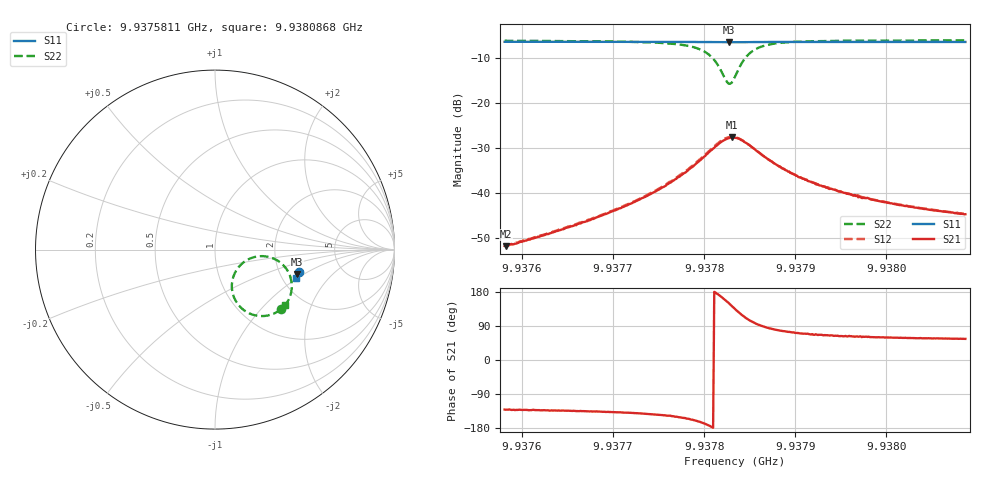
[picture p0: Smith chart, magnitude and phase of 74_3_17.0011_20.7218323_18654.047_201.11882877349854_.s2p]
#  HZ  S  RI  R  50.00
! Rohde & Schwarz Vector Network Analyzer
! Rohde-Schwarz,ZNB20-2Port,1311601062101988,3.16
! Created: UTC 3/20/2024, 10:55:21 PM
! freq[Hz]  re:S11  im:S11  re:S21  im:S21  re:S12  im:S12  re:S22  im:S22
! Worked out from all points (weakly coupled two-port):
!   401 points, 9.9375811 GHz to 9.9380868 GHz, reference 50 ohm
!   highest |S21| = -27.67 dB at 9.9378302 GHz (marker M1); lowest = -51.9 dB at 9.9375824 GHz (marker M2)
!   lowest |S11| = -6.4 dB at 9.9378276 GHz (marker M3), VSWR 2.82, Z = 122 - j43.9 ohm
!   |S11| at or under -10 dB: nowhere
!   |S22| runs from -15.7 to -6.0 dB; largest |S21 - S12| = 0.0026
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9.93758115e9  0.4656 -0.1245  -0.00167 -0.00193  -0.00171 -0.00189  0.3662 -0.3332
9.93758241e9  0.4659 -0.1247  -0.00167 -0.00191  -0.00173 -0.00192  0.3661 -0.3331
9.93766584e9  0.4638 -0.1303  -0.00327 -0.00328  -0.00338 -0.00327  0.3475 -0.3461
9.93770881e9  0.4625 -0.1333  -0.00503 -0.0045  -0.00525 -0.00453  0.3292 -0.3559
9.93775053e9  0.4611 -0.1365  -0.00886 -0.00627  -0.00918 -0.0063  0.2936 -0.3671
9.93778086e9  0.4596 -0.1387  -0.0156 -0.00738  -0.0162 -0.0074  0.2356 -0.3686
9.93779982e9  0.4581 -0.1399  -0.0245 -0.00573  -0.0253 -0.00502  0.1649 -0.3403
9.9378112e9  0.4569 -0.1401  -0.0317 8.32e-05  -0.0329 0.00131  0.1127 -0.2803
9.93782005e9  0.4558 -0.1397  -0.0362 0.01  -0.0369 0.0119  0.0941 -0.1934
9.9378251e9  0.4557 -0.139  -0.036 0.0174  -0.036 0.0196  0.1092 -0.1334
9.93782763e9  0.4556 -0.1387  -0.0349 0.0211  -0.0346 0.0235  0.1259 -0.1048
9.93783016e9  0.4558 -0.1385  -0.0331 0.0248  -0.0324 0.027  0.1483 -0.0801
9.93783395e9  0.456 -0.1382  -0.0286 0.0292  -0.0276 0.0311  0.1898 -0.0523
9.93784027e9  0.4568 -0.1378  -0.0202 0.0332  -0.0188 0.0347  0.2639 -0.0363
9.93784533e9  0.4574 -0.1381  -0.0135 0.0338  -0.0122 0.0346  0.3159 -0.0459
9.93785165e9  0.4581 -0.1384  -0.00712 0.032  -0.00574 0.0324  0.3632 -0.0714
9.93785923e9  0.4586 -0.1391  -0.00176 0.0286  -0.000823 0.0285  0.3975 -0.1073
9.93788704e9  0.459 -0.1421  0.00447 0.0181  0.0049 0.0177  0.428 -0.2002
9.93791864e9  0.4584 -0.1448  0.00481 0.0121  0.00524 0.0121  0.4221 -0.2481
9.93797173e9  0.457 -0.1487  0.00413 0.00793  0.00448 0.00785  0.4083 -0.2826
9.93800333e9  0.4562 -0.1508  0.00391 0.00657  0.0041 0.00657  0.402 -0.2938
9.93808675e9  0.4541 -0.1564  0.00324 0.00476  0.00338 0.00474  0.3899 -0.311
